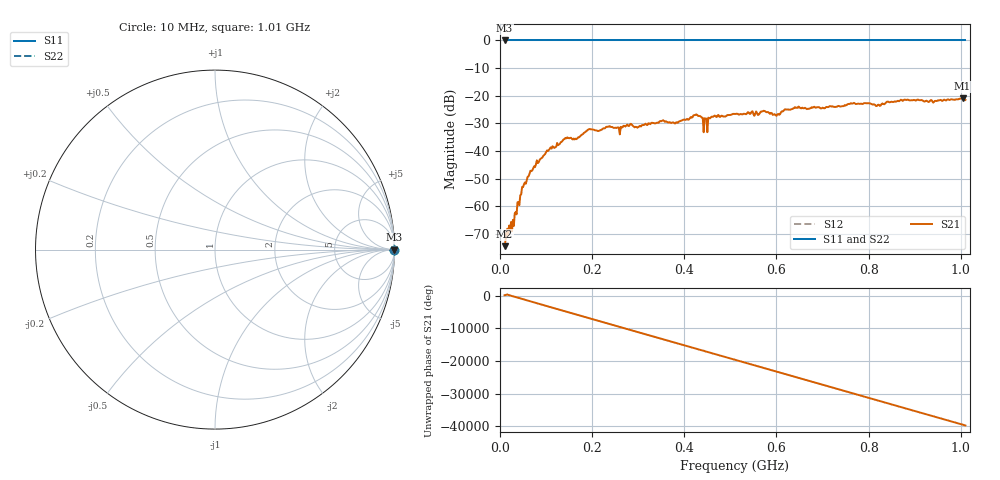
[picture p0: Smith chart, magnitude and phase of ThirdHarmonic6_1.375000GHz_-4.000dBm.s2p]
! 8/16/2025 3:35:32 PM
! C:\ANRITSUVNA\TEMP\TEMP.S2P
! CHANNEL.1
! TR.MEASUREMENT
! RAW.DATA
! RF.CORRECTION.OFF
! AVERAGING.OFF
! IF.BANDWIDTH: 5KHZ
! SWEEPTYPE:  FREQ.SWEEP(Linear)
! Reference Plane Port Info
! PORT:  PORT1  PORT2
! DISTANCE:  0  m  0  m
! TIME:  0  s  0  s
! PHASE.OFFSET:  0  deg.  0  deg.
! LOSS:  0  dB  0  dB
! REF.LOSS:  0  dB  0  dB
! REF.FREQ:  0  Hz  0  Hz
! Power Info
! POWER:  -20  dBm  -20  dBm
! EFF.POWER:  -20  dBm  -20  dBm
! SOURCE.ATTEN:  0  dB  0  dB
! TEST.ATTEN:  0  dB  0  dB
# GHZ S RI R 50.0
! FREQ.GHZ  S11RE  S11IM  S21RE  S21IM  S12RE  S12IM  S22RE  S22IM
!; PortSelection: Port_12
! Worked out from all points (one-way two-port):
!   501 points, 10 MHz to 1.01 GHz, reference 50 ohm
!   highest |S21| = -20.91 dB at 1.004 GHz (marker M1); lowest = -74.4 dB at 10 MHz (marker M2)
!   lowest |S11| = 0.0 dB at 10 MHz (marker M3)
!   |S11| at or under -10 dB: nowhere
!   |S22| runs from 0.0 to 0.0 dB; largest |S21 - S12| = 1.1
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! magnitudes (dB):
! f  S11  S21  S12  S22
! 10 MHz  0.0  -74.4  0.0  0.0
! 16 MHz  0.0  -68.1  0.0  0.0
! 26 MHz  0.0  -69.0  0.0  0.0
! 50 MHz  0.0  -53.0  0.0  0.0
! 76 MHz  0.0  -45.8  0.0  0.0
! 106 MHz  0.0  -39.6  0.0  0.0
! 142 MHz  0.0  -35.2  0.0  0.0
! 178 MHz  0.0  -34.0  0.0  0.0
! 194 MHz  0.0  -32.1  0.0  0.0
! 344 MHz  0.0  -29.8  0.0  0.0
! 382 MHz  0.0  -29.6  0.0  0.0
! 424 MHz  0.0  -26.9  0.0  0.0
! 446 MHz  0.0  -28.3  0.0  0.0
! 462 MHz  0.0  -27.6  0.0  0.0
! 510 MHz  0.0  -26.6  0.0  0.0
! 572 MHz  0.0  -25.4  0.0  0.0
! 602 MHz  0.0  -26.7  0.0  0.0
! 620 MHz  0.0  -24.9  0.0  0.0
! 678 MHz  0.0  -24.3  0.0  0.0
! 844 MHz  0.0  -22.3  0.0  0.0
! 1.004 GHz  0.0  -20.9  0.0  0.0
! 1.01 GHz  0.0  -21.5  0.0  0.0
